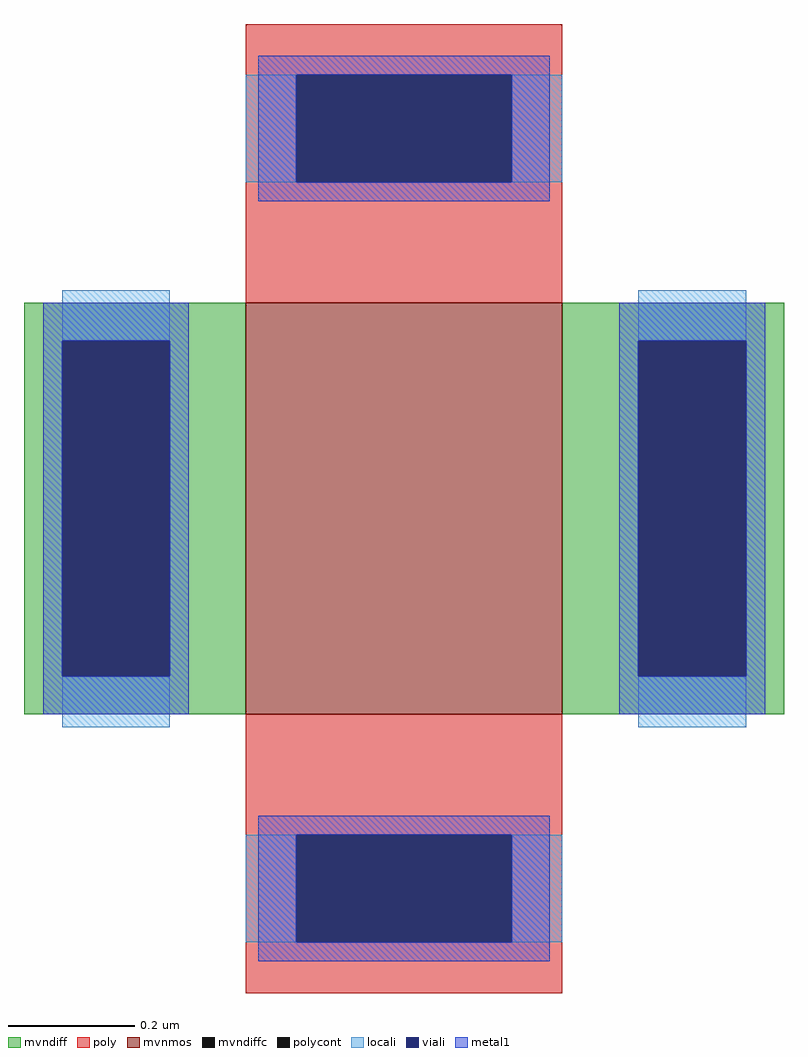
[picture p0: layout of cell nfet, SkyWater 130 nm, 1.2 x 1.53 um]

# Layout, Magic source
magic
tech sky130A
magscale 1 2
<< mvnmos >>
rect -50 -65 50 65
<< mvndiff >>
rect -120 53 -50 65
rect -120 -53 -108 53
rect -74 -53 -50 53
rect -120 -65 -50 -53
rect 50 53 120 65
rect 50 -53 74 53
rect 108 -53 120 53
rect 50 -65 120 -53
<< mvndiffc >>
rect -108 -53 -74 53
rect 74 -53 108 53
<< poly >>
rect -50 137 50 153
rect -50 103 -34 137
rect 34 103 50 137
rect -50 65 50 103
rect -50 -103 50 -65
rect -50 -137 -34 -103
rect 34 -137 50 -103
rect -50 -153 50 -137
<< polycont >>
rect -34 103 34 137
rect -34 -137 34 -103
<< locali >>
rect -50 103 -34 137
rect 34 103 50 137
rect -108 53 -74 69
rect -108 -69 -74 -53
rect 74 53 108 69
rect 74 -69 108 -53
rect -50 -137 -34 -103
rect 34 -137 50 -103
<< viali >>
rect -34 103 34 137
rect -108 -53 -74 53
rect 74 -53 108 53
rect -34 -137 34 -103
<< metal1 >>
rect -46 137 46 143
rect -46 103 -34 137
rect 34 103 46 137
rect -46 97 46 103
rect -114 53 -68 65
rect -114 -53 -108 53
rect -74 -53 -68 53
rect -114 -65 -68 -53
rect 68 53 114 65
rect 68 -53 74 53
rect 108 -53 114 53
rect 68 -65 114 -53
rect -46 -103 46 -97
rect -46 -137 -34 -103
rect 34 -137 46 -103
rect -46 -143 46 -137
<< end >>
